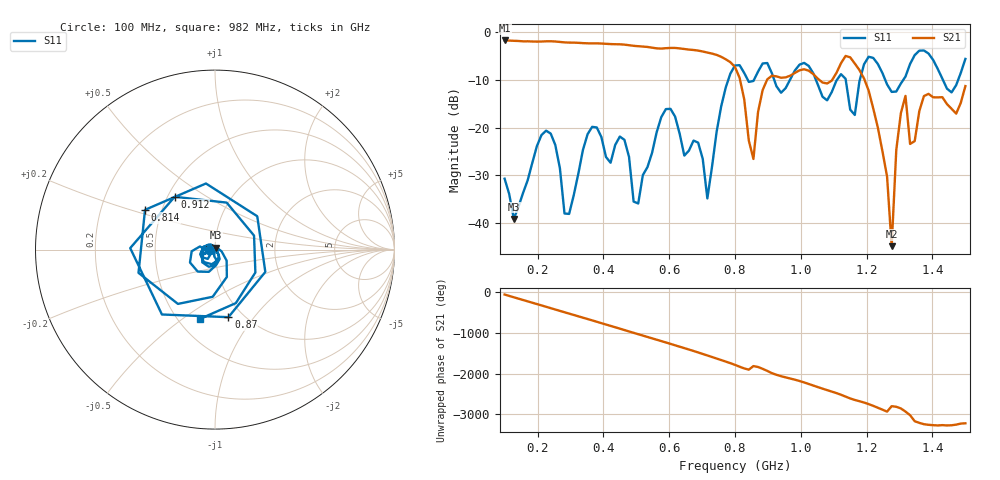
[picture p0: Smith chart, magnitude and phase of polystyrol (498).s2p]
! NanoVNA-App
! Date: 2025-09-25 15:33:46
! Start: 100MHz Stop: 1,5GHz Points: 101
! S-Parameter data: F S11 S21 S12 S22
# Hz S RI R 50
!  Frequency  S11_Real  S11_Imag  S21_Real  S21_Imag  S12_Real  S12_Imag  S22_Real  S22_Imag
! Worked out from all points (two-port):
!   101 points, 100 MHz to 1.5 GHz, reference 50 ohm
!   highest |S21| = -1.80 dB at 100 MHz (marker M1); lowest = -44.8 dB at 1.276 GHz (marker M2)
!   |S21| within 3 dB of the highest: start of sweep to 743.3 MHz
!   lowest |S11| = -39.1 dB at 128 MHz (marker M3), VSWR 1.02, Z = 50.3 + j1.06 ohm
!   |S11| at or under -10 dB: start of sweep to 779.8 MHz; 1.046 GHz to 1.11 GHz (64.55 MHz wide, 5.99 % of centre); 1.256 GHz to 1.312 GHz (55.47 MHz wide, 4.32 % of centre)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
!   S12 and S22 are empty: the file has one direction only
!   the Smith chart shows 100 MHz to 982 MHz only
!   S11 on the Smith chart (normalised r, x): 100 MHz: 0.94, -0.01; 814 MHz: 0.40, +0.22; 870 MHz: 0.85, -0.75; 912 MHz: 0.54, +0.37; 982 MHz: 0.64, -0.58
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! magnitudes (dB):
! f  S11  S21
! 100 MHz  -30.7  -1.8
! 128 MHz  -39.1  -1.9
! 212 MHz  -21.6  -2.0
! 282 MHz  -38.0  -2.2
! 338 MHz  -24.7  -2.4
! 464 MHz  -22.6  -2.7
! 506 MHz  -35.9  -3.0
! 576 MHz  -17.8  -3.5
! 716 MHz  -34.8  -4.3
! 800 MHz  -7.0  -7.4
! 814 MHz  -7.0  -9.6
! 856 MHz  -10.3  -26.6
! 870 MHz  -8.3  -16.8
! 912 MHz  -8.6  -9.2
! 982 MHz  -8.1  -8.6
! 1.038 GHz  -8.7  -8.8
! 1.164 GHz  -17.4  -6.6
! 1.192 GHz  -6.8  -9.7
! 1.276 GHz  -12.6  -44.8
! 1.318 GHz  -9.3  -13.4
! 1.332 GHz  -6.7  -23.4
! 1.5 GHz  -5.6  -11.3
